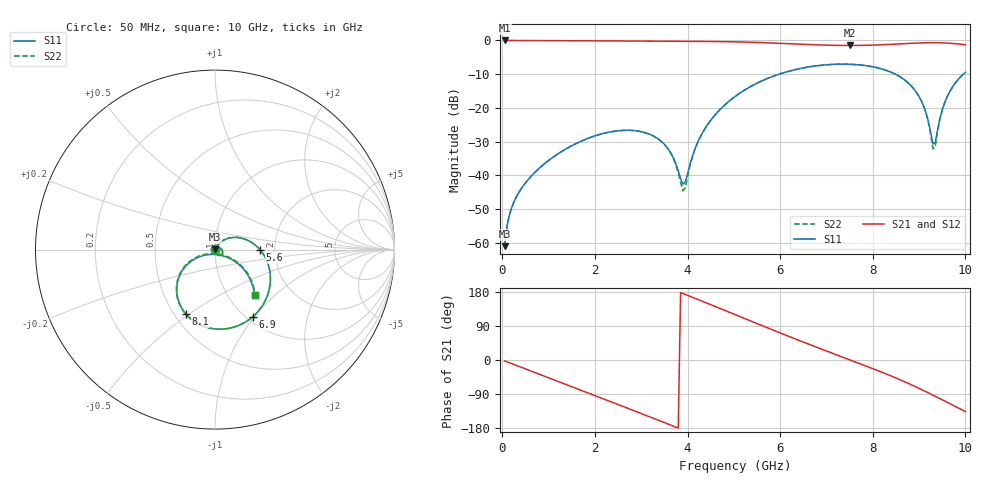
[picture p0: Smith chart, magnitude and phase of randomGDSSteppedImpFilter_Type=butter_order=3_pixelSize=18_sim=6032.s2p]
! freq	dB(S11)	phase(S11)	dB(S12)	phase(S12)
!  dB(S21)	phase(S21)	dB(S22)	phase(S22)
!S-par simulation data
#  GHz  S  DB  R 50
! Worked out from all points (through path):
!   200 points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, 50 MHz to 10 GHz, reference 50 ohm
!   highest |S21| = 0.00 dB at 50 MHz (marker M1); lowest = -1.5 dB at 7.5 GHz (marker M2)
!   group delay of S21, straight-line fit = 135 ps
!   lowest |S11| = -61.0 dB at 50 MHz (marker M3), VSWR 1.00, Z = 50 + j0.0882 ohm
!   |S11| at or under -10 dB: start of sweep to 5.975 GHz; 8.488 GHz to 9.954 GHz (1.466 GHz wide, 15.9 % of centre)
!   |S22| runs from -61.0 to -7.0 dB; largest |S21 - S12| = 0
!   S11 on the Smith chart (normalised r, x): 50 MHz: 1.00, +0.00; 5.6 GHz: 1.67, -0.00; 6.9 GHz: 1.07, -0.98; 8.1 GHz: 0.57, -0.49; 10 GHz: 1.32, -0.76
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0.05  -60.97 80.4  -0.00 -2.4  -0.00 -2.4  -60.97 80.4
0.2  -49.65 74.0  -0.02 -9.5  -0.02 -9.5  -49.65 73.9
0.45  -43.13 65.5  -0.03 -21.2  -0.03 -21.2  -43.13 65.1
1.15  -34.08 38.4  -0.06 -54.0  -0.06 -54.0  -34.09 37.6
1.75  -29.57 11.5  -0.10 -82.1  -0.10 -82.1  -29.59 10.4
2.5  -26.76 -23.0  -0.14 -117.5  -0.14 -117.5  -26.78 -24.4
3.4  -29.53 -60.3  -0.20 -160.3  -0.20 -160.3  -29.59 -62.8
3.7  -34.95 -62.9  -0.22 -174.8  -0.22 -174.8  -35.22 -67.6
3.9  -42.60 -16.2  -0.24 175.5  -0.24 175.5  -44.56 -18.9
4.35  -26.71 53.3  -0.28 153.5  -0.28 153.5  -26.75 55.1
5.05  -16.37 25.6  -0.42 118.7  -0.42 118.7  -16.38 26.0
5.6  -12.01 -0.2  -0.64 91.2  -0.64 91.2  -12.01 -0.1
6.7  -7.68 -51.7  -1.26 37.8  -1.26 37.8  -7.68 -51.8
6.9  -7.34 -60.7  -1.36 28.4  -1.36 28.4  -7.34 -60.9
7.5  -7.06 -87.4  -1.49 0.8  -1.49 0.8  -7.06 -87.8
8.1  -8.10 -114.3  -1.33 -27.4  -1.33 -27.4  -8.10 -114.8
8.35  -9.16 -125.8  -1.18 -39.8  -1.18 -39.8  -9.16 -126.4
9  -16.62 -154.0  -0.75 -74.9  -0.75 -74.9  -16.67 -155.7
9.15  -21.44 -154.4  -0.69 -83.7  -0.69 -83.7  -21.59 -157.5
9.3  -30.72 -111.8  -0.67 -92.7  -0.67 -92.7  -32.17 -115.4
9.6  -16.88 -31.2  -0.78 -111.3  -0.78 -111.3  -16.92 -29.3
10  -9.45 -49.1  -1.28 -136.0  -1.28 -136.0  -9.45 -48.4
